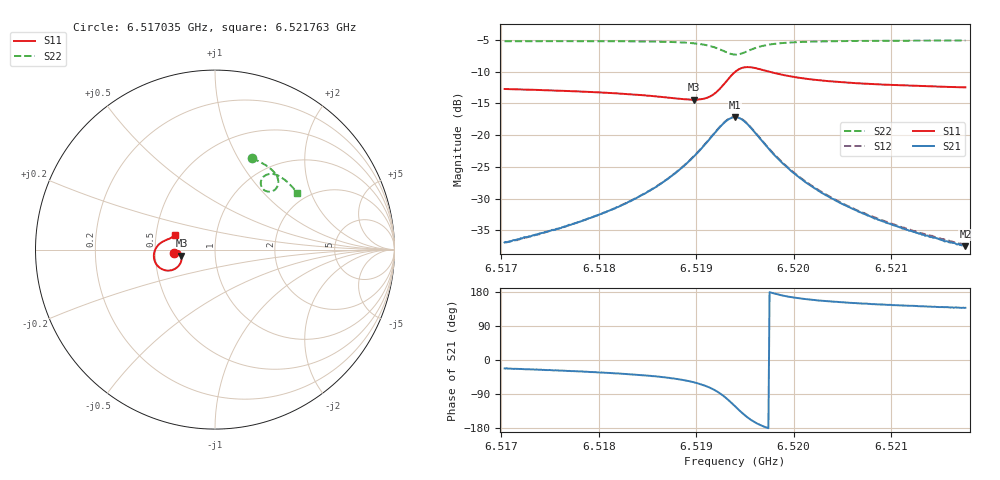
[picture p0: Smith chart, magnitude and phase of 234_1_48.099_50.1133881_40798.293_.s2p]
#  HZ  S  RI  R  50.00
! Rohde & Schwarz Vector Network Analyzer
! Rohde-Schwarz,ZNB20-2Port,1311601062101988,3.16
! Created: UTC 12/23/2023, 3:58:05 AM
! freq[Hz]  re:S11  im:S11  re:S21  im:S21  re:S12  im:S12  re:S22  im:S22
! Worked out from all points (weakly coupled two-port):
!   401 points, 6.517035 GHz to 6.521763 GHz, reference 50 ohm
!   highest |S21| = -17.19 dB at 6.519399 GHz (marker M1); lowest = -37.5 dB at 6.521763 GHz (marker M2)
!   lowest |S11| = -14.4 dB at 6.518973 GHz (marker M3), VSWR 1.47, Z = 34.2 - j2.4 ohm
!   |S11| at or under -10 dB: start of sweep to 6.519403 GHz; 6.519747 GHz to end of sweep
!   |S22| runs from -7.3 to -5.1 dB; largest |S21 - S12| = 0.0043
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6.5170346e9  -0.2301 -0.0164  0.0132 -0.00541  0.0134 -0.00504  0.2056 0.5083
6.5173655e9  -0.2265 -0.0115  0.0149 -0.00695  0.015 -0.00652  0.23 0.4982
6.5178265e9  -0.2199 -0.00614  0.0182 -0.0106  0.0185 -0.01  0.264 0.4809
6.518252e9  -0.2115 -0.00407  0.0229 -0.0168  0.0235 -0.0161  0.296 0.4609
6.5186184e9  -0.2004 -0.00884  0.0291 -0.0281  0.0301 -0.0274  0.3242 0.4367
6.5188076e9  -0.193 -0.0176  0.033 -0.0397  0.0344 -0.039  0.3389 0.4187
6.518973e9  -0.1869 -0.0339  0.0351 -0.0575  0.0371 -0.0568  0.3498 0.3961
6.5190912e9  -0.1865 -0.0551  0.0318 -0.0782  0.0343 -0.0779  0.3528 0.3728
6.519174e9  -0.1934 -0.0768  0.0222 -0.0979  0.0253 -0.0978  0.3479 0.3523
6.519304e9  -0.2362 -0.1131  -0.0215 -0.1265  -0.018 -0.128  0.3147 0.3239
6.5193513e9  -0.2643 -0.117  -0.0474 -0.127  -0.044 -0.1294  0.2944 0.323
6.5193986e9  -0.2943 -0.1094  -0.0733 -0.1172  -0.0706 -0.1205  0.2746 0.3312
6.5194458e9  -0.3195 -0.0908  -0.0939 -0.0983  -0.0917 -0.1017  0.2604 0.3475
6.5195049e9  -0.3373 -0.0591  -0.1059 -0.0688  -0.1048 -0.0724  0.2547 0.3718
6.5196113e9  -0.3364 -0.00859  -0.0997 -0.0256  -0.0998 -0.0286  0.2694 0.4051
6.5197177e9  -0.3198 0.021  -0.0823 -0.00293  -0.083 -0.00533  0.2925 0.419
6.5199541e9  -0.2876 0.0465  -0.0525 0.0122  -0.0534 0.0108  0.3331 0.4193
6.5201905e9  -0.2684 0.0552  -0.0365 0.0142  -0.0374 0.0133  0.3602 0.4081
6.5205451e9  -0.2517 0.062  -0.0243 0.0132  -0.0249 0.0127  0.3897 0.3881
6.5209824e9  -0.2391 0.0683  -0.0165 0.0113  -0.0171 0.011  0.4183 0.362
6.521337e9  -0.2315 0.0731  -0.0129 0.0102  -0.0134 0.00997  0.4377 0.3408
6.5217625e9  -0.224 0.0791  -0.00987 0.00898  -0.0102 0.00893  0.4588 0.3143
